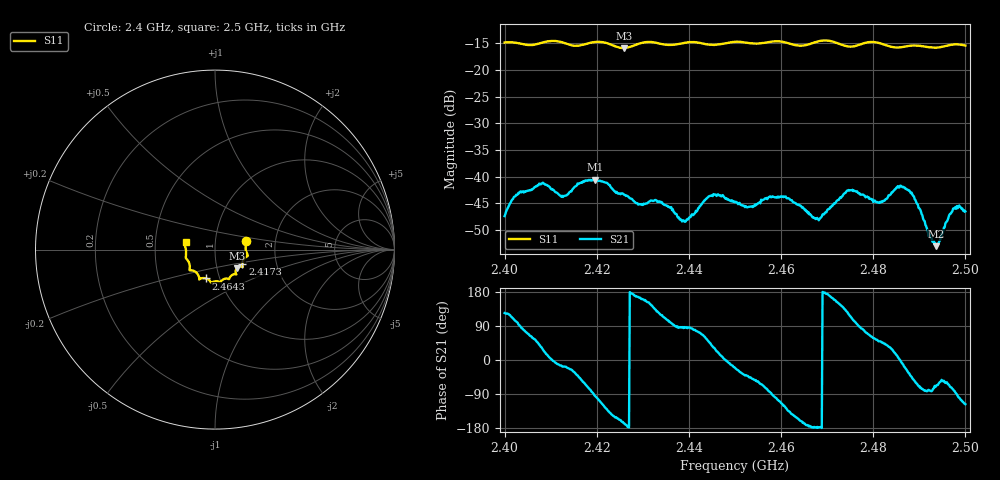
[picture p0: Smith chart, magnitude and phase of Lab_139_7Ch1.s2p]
# Hz S RI R
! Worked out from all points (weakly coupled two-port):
!   601 points, 2.4 GHz to 2.5 GHz, reference 50 ohm
!   highest |S21| = -40.52 dB at 2.4197 GHz (marker M1); lowest = -53.0 dB at 2.4937 GHz (marker M2)
!   lowest |S11| = -15.9 dB at 2.4258 GHz (marker M3), VSWR 1.38, Z = 62.3 - j13.3 ohm
!   |S11| at or under -10 dB: start of sweep to end of sweep
!   S12 and S22 are empty: the file has one direction only
!   S11 on the Smith chart (normalised r, x): 2.4 GHz: 1.41, +0.14; 2.4173 GHz: 1.34, -0.23; 2.4643 GHz: 0.86, -0.29; 2.5 GHz: 0.72, +0.06
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2.4e9  0.1733 0.0493  -0.00239 0.00355  0 0  0 0
2.4025e9  0.175 0.0381  -0.00132 0.00664  0 0  0 0
2.407833e9  0.177 -0.0195  0.00692 0.00489  0 0  0 0
2.412667e9  0.1756 -0.0394  0.00616 -0.00196  0 0  0 0
2.416667e9  0.1531 -0.0742  0.00534 -0.00708  0 0  0 0
2.417333e9  0.1524 -0.0816  0.00441 -0.00804  0 0  0 0
2.419667e9  0.1544 -0.0972  -0.000906 -0.00937  0 0  0 0
2.425833e9  0.1215 -0.1038  -0.00666 -0.00157  0 0  0 0
2.433333e9  0.1127 -0.1367  -0.00346 0.00474  0 0  0 0
2.438833e9  0.081 -0.1584  0.00038 0.00389  0 0  0 0
2.444833e9  0.0571 -0.1616  0.00509 0.0043  0 0  0 0
2.45e9  0.0291 -0.1807  0.0054 -0.00201  0 0  0 0
2.4605e9  -0.0244 -0.1809  -0.0033 -0.00553  0 0  0 0
2.464333e9  -0.0498 -0.1608  -0.00504 -0.00169  0 0  0 0
2.466667e9  -0.076 -0.1598  -0.00426 -0.000163  0 0  0 0
2.4685e9  -0.0867 -0.1653  -0.0041 -0.00021  0 0  0 0
2.474667e9  -0.1031 -0.1292  -0.00385 0.00645  0 0  0 0
2.483333e9  -0.1406 -0.0902  0.00548 0.00386  0 0  0 0
2.488e9  -0.1604 -0.0508  0.00551 -0.00465  0 0  0 0
2.493667e9  -0.1613 -0.0057  0.000859 -0.00207  0 0  0 0
2.497333e9  -0.1702 0.0283  0.0011 -0.00492  0 0  0 0
2.5e9  -0.1633 0.0418  -0.00213 -0.00423  0 0  0 0
